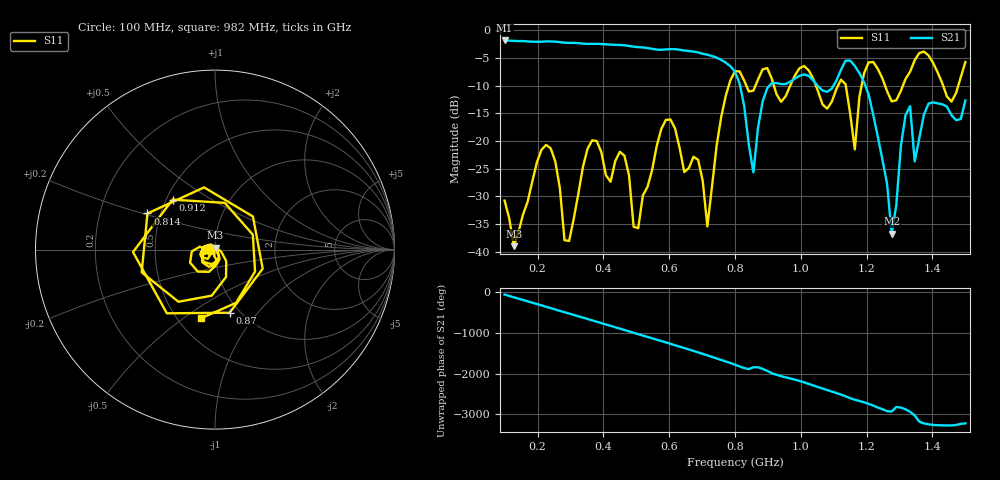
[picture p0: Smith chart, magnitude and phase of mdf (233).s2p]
! NanoVNA-App
! Date: 2025-09-25 15:40:14
! Start: 100MHz Stop: 1,5GHz Points: 101
! S-Parameter data: F S11 S21 S12 S22
# Hz S RI R 50
!  Frequency  S11_Real  S11_Imag  S21_Real  S21_Imag  S12_Real  S12_Imag  S22_Real  S22_Imag
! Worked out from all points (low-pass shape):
!   101 points, 100 MHz to 1.5 GHz, reference 50 ohm
!   highest |S21| = -1.80 dB at 100 MHz (marker M1); lowest = -36.8 dB at 1.276 GHz (marker M2)
!   |S21| within 3 dB of the highest: start of sweep to 739.2 MHz
!   lowest |S11| = -39.0 dB at 128 MHz (marker M3), VSWR 1.02, Z = 50.3 + j1.07 ohm
!   |S11| at or under -10 dB: start of sweep to 781 MHz; 1.046 GHz to 1.113 GHz (67.01 MHz wide, 6.21 % of centre); 1.256 GHz to 1.31 GHz (53.99 MHz wide, 4.21 % of centre) (the widest 3 of 7)
!   S12 and S22 are empty: the file has one direction only
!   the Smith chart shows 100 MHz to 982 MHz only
!   S11 on the Smith chart (normalised r, x): 100 MHz: 0.94, -0.01; 814 MHz: 0.42, +0.21; 870 MHz: 0.90, -0.73; 912 MHz: 0.54, +0.35; 982 MHz: 0.64, -0.58
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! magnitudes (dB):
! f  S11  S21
! 100 MHz  -30.8  -1.8
! 128 MHz  -39.0  -1.9
! 212 MHz  -21.6  -2.0
! 282 MHz  -37.9  -2.2
! 338 MHz  -24.7  -2.4
! 464 MHz  -22.6  -2.7
! 506 MHz  -35.7  -3.0
! 576 MHz  -17.8  -3.5
! 716 MHz  -35.4  -4.4
! 800 MHz  -7.4  -7.5
! 814 MHz  -7.4  -9.6
! 856 MHz  -10.9  -25.7
! 870 MHz  -8.8  -17.6
! 912 MHz  -8.8  -9.5
! 982 MHz  -8.1  -8.7
! 1.038 GHz  -8.8  -9.1
! 1.164 GHz  -21.5  -6.4
! 1.178 GHz  -12.0  -7.7
! 1.276 GHz  -12.8  -36.8
! 1.332 GHz  -7.5  -13.7
! 1.346 GHz  -5.4  -23.7
! 1.5 GHz  -5.7  -12.7
